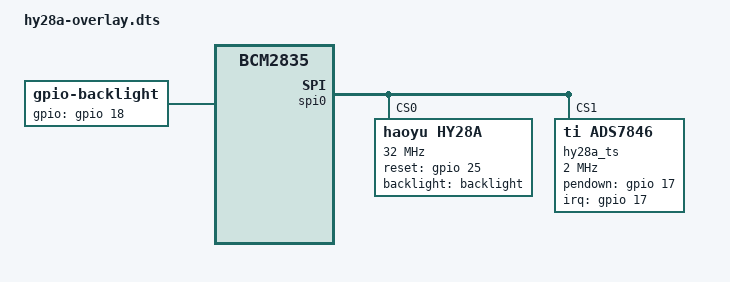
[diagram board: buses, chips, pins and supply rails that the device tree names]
/*
 * Device Tree overlay for Texy's HY28A display HAT
 *
 */

/dts-v1/;
/plugin/;

/ {
	compatible = "brcm,bcm2835";

	fragment@0 {
		target = <&spi0>;
		__overlay__ {
			status = "okay";
		};
	};

/* Downstream needs this:
	fragment@1 {
		target = <&spidev0>;
		__overlay__ {
			status = "disabled";
		};
	};

	fragment@2 {
		target = <&spidev1>;
		__overlay__ {
			status = "disabled";
		};
	};
*/
	fragment@3 {
		target = <&spi0>;
		__overlay__ {
			/* needed to avoid dtc warning */
			#address-cells = <1>;
			#size-cells = <0>;

			hy28a: hy28a@0{
				compatible = "haoyu,hy28a";
				reg = <0>;

				spi-max-frequency = <32000000>;
				spi-cpol;
				spi-cpha;

				rotation = <0>;
				reset-gpios = <&gpio 25 0>;
				backlight = <&backlight>;
			};

			hy28a_ts: hy28a-ts@1 {
				compatible = "ti,ads7846";
				reg = <1>;

				spi-max-frequency = <2000000>;
				interrupts = <17 2>; /* high-to-low edge triggered */
				interrupt-parent = <&gpio>;
				pendown-gpio = <&gpio 17 0>;
				ti,x-plate-ohms = /bits/ 16 <100>;
				ti,pressure-max = /bits/ 16 <255>;
			};
		};
	};

	fragment@4 {
		target = <&gpio>;
		__overlay__ {
			/*
			 * This is necessary on Pi1,2,Zero not Pi3:
			 * Remove &i2s_alt0 which claims gpio18
			 */
			pinctrl-0 = <&gpioout &alt0>;

			backlight_pins: backlight_pins {
				brcm,pins = <18>;
				brcm,function = <1>; /* out */
			};
		};
	};

	fragment@5 {
		target-path = "/soc";
		__overlay__ {
			backlight: backlight {
				compatible = "gpio-backlight";
				pinctrl-names = "default";
				pinctrl-0 = <&backlight_pins>;
				gpios = <&gpio 18 0>;
			};
		};
	};

	__overrides__ {
		speed =		<&hy28a>,"spi-max-frequency:0";
		rotation =	<&hy28a>,"rotation:0";
		fps =		<&hy28a>,"fps:0";
		debug =		<&hy28a>,"debug:0";
		xohms =		<&hy28a_ts>,"ti,x-plate-ohms;0";
	};
};
